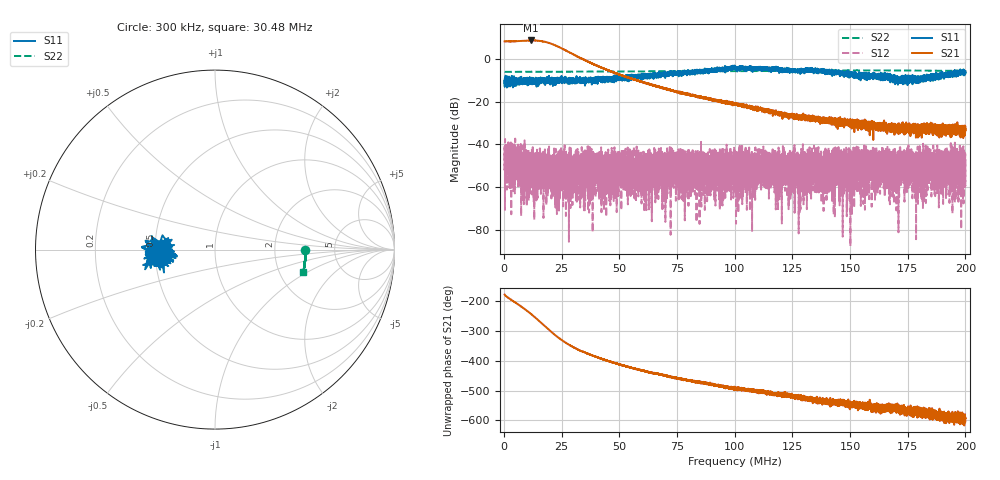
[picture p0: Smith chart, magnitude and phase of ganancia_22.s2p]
# Hz S DB R 50
! CMT, M5065, 19127446, 24.2.4/2
! Date: 10/29/2024 12:19:27 PM
! Data: Format (Calibration Info)
! Freq	S11:dB/Ang(F2)	S21:dB/Ang(F2)	S12:dB/Ang(F2)	S22:dB/Ang(F2)
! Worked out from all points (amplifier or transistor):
!   9000 points, 300 kHz to 200 MHz, reference 50 ohm
!   highest |S21| = 8.8 dB at 11.8 MHz (marker M1)
!   |S21| within 3 dB of that: start of sweep to 23.66 MHz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
!   unconditionally stable (mu >= 1): start of sweep to end of sweep
!   at 33.59 MHz: K = 155.33, MAG = 2.2 dB, |S12| = -53.9 dB
!   at 100.2 MHz: K = 2905.69, MAG = -17.4 dB, |S12| = -61.4 dB
!   at 200 MHz: K = 1647.50, MAG = -28.9 dB, |S12| = -44.3 dB
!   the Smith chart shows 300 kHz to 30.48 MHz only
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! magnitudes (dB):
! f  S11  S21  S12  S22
! 300 kHz  -11.1  8.3  -41.8  -6.0
! 7.778 MHz  -10.1  8.6  -44.2  -5.9
! 11.8 MHz  -10.6  8.8  -56.2  -5.9
! 13.7 MHz  -10.4  8.7  -57.6  -5.9
! 15.79 MHz  -9.0  8.5  -57.5  -5.9
! 25.46 MHz  -8.9  4.8  -44.2  -5.9
! 28.99 MHz  -9.5  2.9  -53.3  -5.9
! 33.59 MHz  -9.2  0.3  -53.9  -5.9
! 66.87 MHz  -7.1  -12.9  -50.0  -5.7
! 100.2 MHz  -4.1  -20.9  -61.4  -5.6
! 111 MHz  -3.5  -23.0  -47.3  -5.6
! 118.8 MHz  -5.1  -24.8  -54.2  -5.5
! 120.9 MHz  -4.9  -25.7  -40.8  -5.5
! 126.2 MHz  -5.3  -26.3  -72.5  -5.4
! 127.2 MHz  -5.1  -27.1  -51.4  -5.4
! 133.4 MHz  -5.1  -26.8  -47.0  -5.4
! 166.7 MHz  -8.9  -31.3  -51.3  -5.3
! 175.8 MHz  -9.9  -32.1  -44.5  -5.3
! 179 MHz  -10.8  -33.2  -49.7  -5.4
! 195.4 MHz  -8.1  -34.8  -67.3  -5.5
! 197.3 MHz  -6.9  -32.1  -49.8  -5.5
! 200 MHz  -5.6  -31.7  -44.3  -5.5
